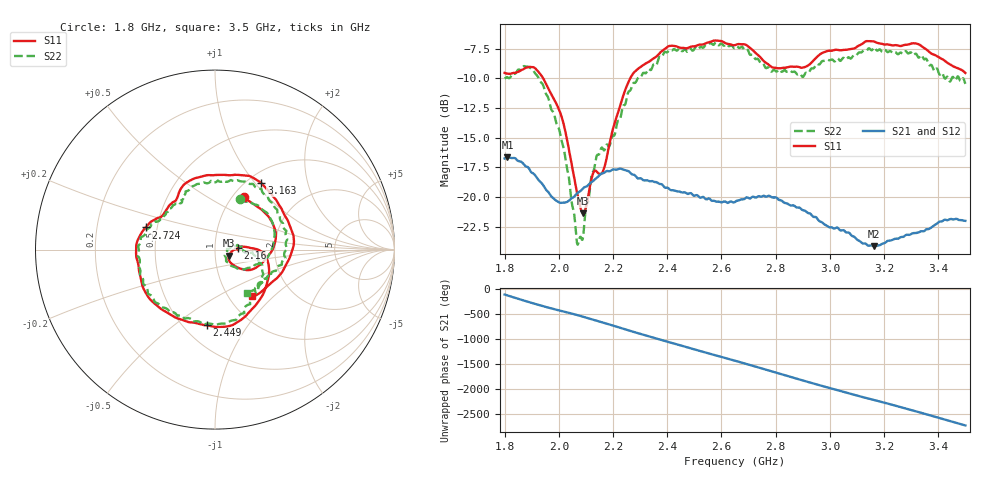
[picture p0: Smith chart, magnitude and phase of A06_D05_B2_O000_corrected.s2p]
! Created with skrf 1.9.0 (http://scikit-rf.org).
# Hz S RI R 50.0
!freq ReS11 ImS11 ReS21 ImS21 ReS12 ImS12 ReS22 ImS22
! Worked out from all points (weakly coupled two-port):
!   1601 points, 1.8 GHz to 3.5 GHz, reference 50 ohm
!   highest |S21| = -16.66 dB at 1.811 GHz (marker M1); lowest = -24.1 dB at 3.162 GHz (marker M2)
!   lowest |S11| = -21.4 dB at 2.09 GHz (marker M3), VSWR 1.19, Z = 58.4 - j3.88 ohm
!   |S11| at or under -10 dB: 1.942 GHz to 2.264 GHz (321.3 MHz wide, 15.3 % of centre)
!   |S22| runs from -24.0 to -7.0 dB; largest |S21 - S12| = 0.0027
!   S11 on the Smith chart (normalised r, x): 1.8 GHz: 1.13, +0.74; 2.16 GHz: 1.29, +0.02; 2.449 GHz: 0.64, -0.66; 2.724 GHz: 0.43, +0.13; 3.163 GHz: 1.16, +1.08; 3.5 GHz: 1.27, -0.75
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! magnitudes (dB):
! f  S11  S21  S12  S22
! 1.8 GHz  -9.6  -16.7  -16.8  -10.0
! 1.811 GHz  -9.6  -16.7  -16.7  -9.9
! 1.881 GHz  -9.1  -17.4  -17.4  -9.0
! 1.941 GHz  -10.0  -19.0  -19.0  -10.6
! 2.013 GHz  -13.4  -20.5  -20.5  -15.4
! 2.067 GHz  -19.6  -19.7  -19.7  -23.8
! 2.084 GHz  -21.2  -19.4  -19.4  -23.5
! 2.09 GHz  -21.4  -19.3  -19.3  -23.2
! 2.126 GHz  -18.0  -18.7  -18.6  -17.9
! 2.16 GHz  -17.9  -18.0  -17.9  -15.8
! 2.26 GHz  -10.2  -17.9  -17.9  -11.1
! 2.367 GHz  -8.0  -18.8  -18.8  -8.4
! 2.449 GHz  -7.4  -19.6  -19.6  -7.6
! 2.65 GHz  -7.2  -20.4  -20.4  -7.4
! 2.724 GHz  -7.8  -20.0  -20.0  -8.4
! 2.797 GHz  -9.1  -20.0  -20.0  -9.3
! 2.934 GHz  -8.6  -21.5  -21.5  -9.2
! 3.162 GHz  -6.9  -24.1  -24.1  -7.4
! 3.163 GHz  -6.9  -24.1  -24.1  -7.4
! 3.217 GHz  -7.2  -23.7  -23.6  -7.8
! 3.325 GHz  -7.1  -23.0  -23.0  -8.2
! 3.5 GHz  -9.6  -22.0  -22.0  -10.5
